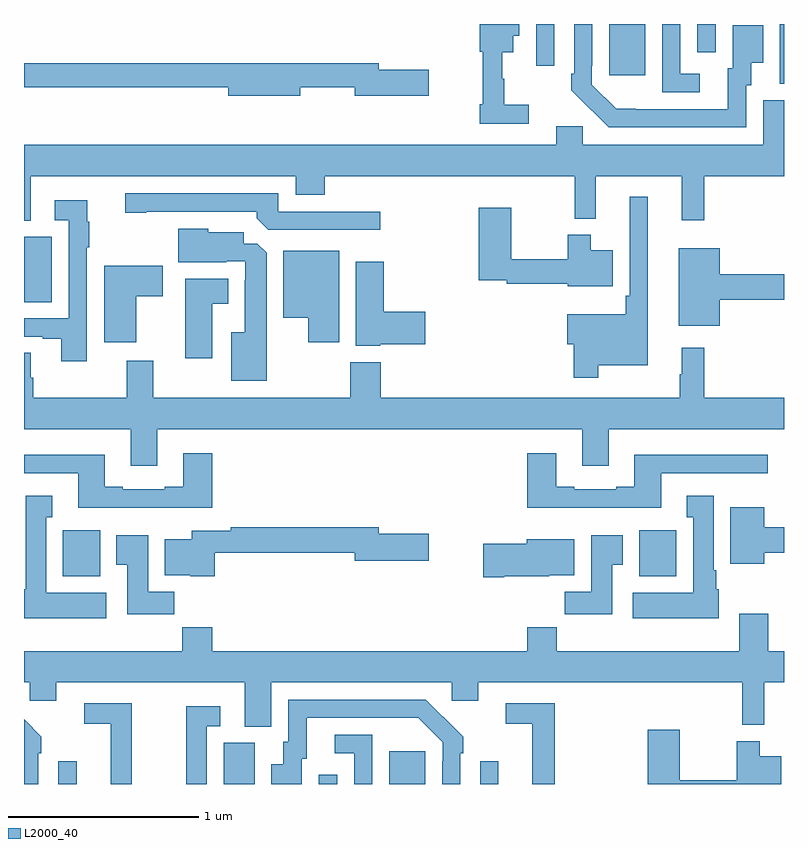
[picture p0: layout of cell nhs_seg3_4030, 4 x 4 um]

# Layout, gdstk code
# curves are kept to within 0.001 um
import gdstk
lib = gdstk.Library(unit=1e-6, precision=1e-09)
def R(c, l, rs):  # rectangles x0, y0, x1, y1
    for r in rs: c.add(gdstk.rectangle(r[:2], r[2:], *l))
def P(c, l, *ps):  # polygons
    for p in ps: c.add(gdstk.Polygon(p, *l))
L2000_40 = (2000, 40)

nhs_seg3_4030 = lib.new_cell('nhs_seg3_4030')
R(nhs_seg3_4030, L2000_40, [(323.181,680.4,323.277,680.521), (324.05,680.4,324.214,680.616), (324.552,680.4,324.648,680.449), (324.923,680.4,325.111,680.572), (325.401,680.4,325.497,680.521), (323.204,681.494,323.401,681.736), (326.237,681.494,326.434,681.736), (323,682.936,323.146,683.28), (326.978,684.085,327,684.4), (326.081,684.129,326.269,684.4), (325.695,684.18,325.791,684.4), (326.544,684.252,326.64,684.4)])
P(nhs_seg3_4030, L2000_40, [(326.557,684.138),(326.454,684.138),(326.454,684.4),(326.358,684.4),(326.358,684.042),(326.557,684.042)],
  [(325.657,683.975),(325.528,683.975),(325.528,684.111),(325.517,684.111),(325.517,684.251),(325.576,684.251),(325.576,684.338),(325.606,684.338),(325.606,684.4),(325.399,684.4),(325.399,684.255),(325.414,684.255),(325.414,683.977),(325.399,683.977),(325.399,683.874),(325.657,683.874)],
  [(326.802,684.078),(326.827,684.078),(326.827,684.197),(326.89,684.197),(326.89,684.394),(326.729,684.394),(326.729,684.168),(326.705,684.168),(326.705,683.952),(326.118,683.953),(325.989,684.081),(325.989,684.181),(325.992,684.181),(325.992,684.4),(325.896,684.4),(325.896,684.139),(325.881,684.139),(325.881,684.051),(326.078,683.856),(326.802,683.856)],
  [(324.454,684.066),(324.74,684.066),(324.74,684.023),(325.129,684.023),(325.129,684.158),(324.868,684.158),(324.868,684.194),(323,684.194),(323,684.066),(324.074,684.066),(324.074,684.023),(324.454,684.023)],
  [(323.035,683.6),(324.431,683.6),(324.431,683.501),(324.584,683.501),(324.584,683.6),(325.899,683.6),(325.899,683.375),(326.009,683.375),(326.009,683.6),(326.462,683.6),(326.462,683.367),(326.579,683.367),(326.579,683.6),(327,683.6),(327,684),(326.891,684),(326.891,683.764),(325.941,683.764),(325.941,683.862),(325.802,683.862),(325.802,683.764),(323,683.764),(323,683.365),(323.035,683.365)],
  [(324.874,683.412),(324.339,683.412),(324.339,683.508),(323.532,683.508),(323.532,683.407),(323.644,683.407),(323.644,683.412),(324.224,683.412),(324.224,683.378),(324.285,683.316),(324.874,683.316)],
  [(326.023,682.604),(326.284,682.604),(326.284,683.491),(326.187,683.491),(326.187,682.969),(326.167,682.969),(326.167,682.873),(325.86,682.873),(325.86,682.715),(325.894,682.715),(325.894,682.539),(326.023,682.539)],
  [(323.331,683.224),(323.344,683.224),(323.344,683.36),(323.333,683.36),(323.333,683.473),(323.163,683.473),(323.163,683.367),(323.235,683.367),(323.235,682.851),(323,682.851),(323,682.755),(323.099,682.755),(323.099,682.743),(323.195,682.743),(323.195,682.626),(323.331,682.626)],
  [(326.098,683.209),(325.984,683.209),(325.984,683.29),(325.862,683.29),(325.862,683.161),(325.564,683.161),(325.564,683.434),(325.394,683.434),(325.394,683.052),(325.54,683.052),(325.54,683.032),(325.862,683.032),(325.862,683.021),(326.098,683.021)],
  [(324.277,683.195),(324.228,683.244),(324.157,683.244),(324.157,683.305),(323.97,683.305),(323.97,683.323),(323.813,683.323),(323.813,683.147),(324.065,683.147),(324.065,683.151),(324.165,683.151),(324.165,683.051),(324.161,683.051),(324.161,682.777),(324.092,682.777),(324.092,682.523),(324.277,682.523)],
  [(326.662,682.948),(327,682.948),(327,683.084),(326.662,683.084),(326.662,683.221),(326.447,683.221),(326.447,682.811),(326.662,682.811)],
  [(324.658,683.206),(324.365,683.206),(324.365,682.853),(324.497,682.853),(324.497,682.725),(324.658,682.725)],
  [(324.876,682.715),(325.111,682.715),(325.111,682.886),(324.893,682.886),(324.893,683.149),(324.746,683.149),(324.746,682.706),(324.876,682.706)],
  [(323.59,682.966),(323.731,682.966),(323.731,683.128),(323.423,683.128),(323.423,682.725),(323.59,682.725)],
  [(323.992,682.928),(324.076,682.928),(324.076,683.059),(323.849,683.059),(323.849,682.641),(323.992,682.641)],
  [(323.701,682.268),(325.937,682.268),(325.937,682.074),(326.077,682.074),(326.077,682.268),(327,682.268),(327,682.432),(326.579,682.432),(326.579,682.696),(326.462,682.696),(326.462,682.556),(326.451,682.556),(326.451,682.432),(324.878,682.432),(324.878,682.621),(324.718,682.621),(324.718,682.432),(323.68,682.432),(323.68,682.627),(323.54,682.627),(323.54,682.432),(323.048,682.432),(323.048,682.538),(323.035,682.538),(323.035,682.67),(323,682.67),(323,682.268),(323.561,682.268),(323.561,682.074),(323.701,682.074)],
  [(323.99,682.141),(323.837,682.141),(323.837,681.964),(323.741,681.964),(323.741,681.951),(323.521,681.951),(323.521,681.964),(323.425,681.964),(323.425,682.132),(323,682.132),(323,682.035),(323.285,682.035),(323.285,681.854),(323.99,681.854)],
  [(326.353,682.035),(326.914,682.035),(326.914,682.132),(326.213,682.132),(326.213,681.964),(326.117,681.964),(326.117,681.951),(325.897,681.951),(325.897,681.964),(325.801,681.964),(325.801,682.141),(325.649,682.141),(325.649,681.854),(326.353,681.854)],
  [(326.656,681.426),(326.644,681.426),(326.644,681.526),(326.629,681.526),(326.629,681.916),(326.489,681.916),(326.489,681.803),(326.522,681.803),(326.522,681.406),(326.205,681.406),(326.205,681.272),(326.656,681.272)],
  [(323.434,681.406),(323.116,681.406),(323.116,681.803),(323.149,681.803),(323.149,681.916),(323.009,681.916),(323.009,681.426),(323,681.426),(323,681.272),(323.434,681.272)],
  [(326.896,681.616),(327,681.616),(327,681.752),(326.896,681.752),(326.896,681.856),(326.717,681.856),(326.717,681.56),(326.896,681.56)],
  [(324.005,681.616),(324.74,681.616),(324.74,681.574),(325.129,681.574),(325.129,681.716),(324.868,681.716),(324.868,681.752),(324.088,681.752),(324.088,681.732),(323.882,681.732),(323.882,681.688),(323.741,681.688),(323.741,681.5),(323.874,681.5),(323.874,681.494),(324.005,681.494)],
  [(326.095,681.553),(326.152,681.553),(326.152,681.709),(325.985,681.709),(325.985,681.412),(325.846,681.412),(325.846,681.294),(326.095,681.294)],
  [(323.792,681.412),(323.653,681.412),(323.653,681.709),(323.486,681.709),(323.486,681.553),(323.543,681.553),(323.543,681.294),(323.792,681.294)],
  [(325.528,681.494),(325.764,681.494),(325.764,681.5),(325.897,681.5),(325.897,681.688),(325.646,681.688),(325.646,681.665),(325.416,681.665),(325.416,681.487),(325.528,681.487)],
  [(324.301,680.936),(325.251,680.936),(325.251,680.838),(325.39,680.838),(325.39,680.936),(326.779,680.936),(326.779,680.711),(326.897,680.711),(326.897,680.936),(327,680.936),(327,681.1),(326.918,681.1),(326.918,681.295),(326.765,681.295),(326.765,681.1),(325.805,681.1),(325.805,681.224),(325.649,681.224),(325.649,681.1),(323.99,681.1),(323.99,681.224),(323.833,681.224),(323.833,681.1),(323,681.1),(323,680.936),(323.031,680.936),(323.031,680.838),(323.17,680.838),(323.17,680.936),(324.161,680.936),(324.161,680.701),(324.301,680.701)],
  [(324.463,680.532),(324.487,680.532),(324.487,680.748),(325.075,680.748),(325.203,680.619),(325.203,680.519),(325.2,680.519),(325.2,680.4),(325.296,680.4),(325.296,680.561),(325.311,680.561),(325.311,680.649),(325.114,680.844),(324.39,680.844),(324.39,680.622),(324.365,680.622),(324.365,680.503),(324.302,680.503),(324.302,680.4),(324.463,680.4)],
  [(323.566,680.826),(323.316,680.826),(323.316,680.718),(323.456,680.718),(323.456,680.4),(323.566,680.4)],
  [(325.793,680.826),(325.536,680.826),(325.536,680.718),(325.676,680.718),(325.676,680.4),(325.793,680.4)],
  [(323.961,680.703),(324.034,680.703),(324.034,680.809),(323.853,680.809),(323.853,680.4),(323.961,680.4)],
  [(323.076,680.561),(323.091,680.561),(323.091,680.649),(323,680.74),(323,680.4),(323.076,680.4)],
  [(326.986,680.545),(326.872,680.545),(326.872,680.626),(326.75,680.626),(326.75,680.42),(326.452,680.42),(326.452,680.686),(326.282,680.686),(326.282,680.4),(326.986,680.4)],
  [(324.834,680.658),(324.636,680.658),(324.636,680.562),(324.738,680.562),(324.738,680.4),(324.834,680.4)])

lib.write_gds('nhs_seg3_4030.gds')
